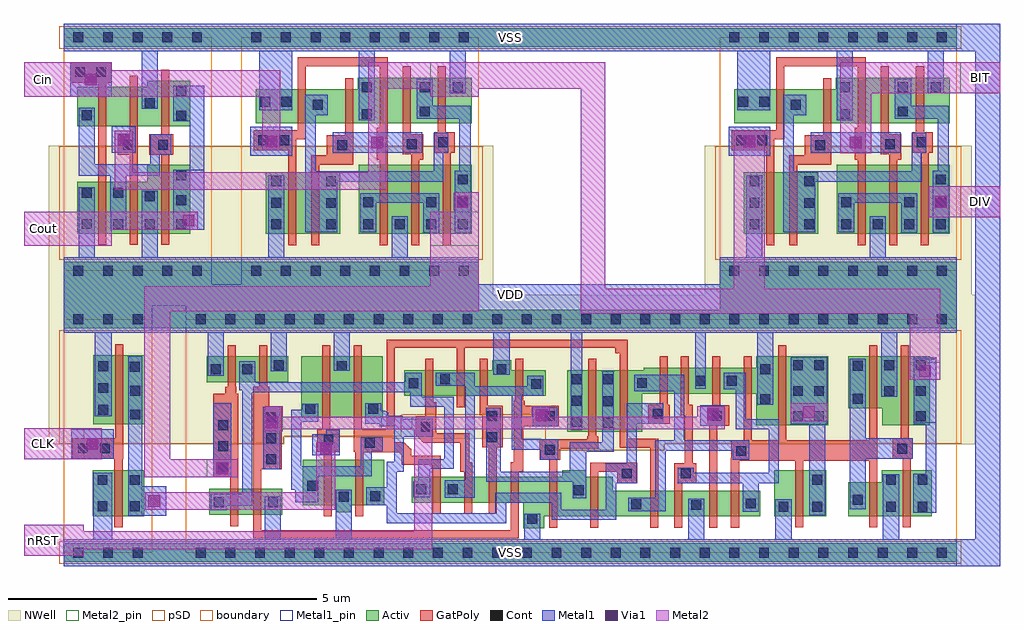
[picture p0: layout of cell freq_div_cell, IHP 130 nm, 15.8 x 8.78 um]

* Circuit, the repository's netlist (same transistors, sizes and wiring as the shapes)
** sch_path: /foss/designs/PROJECTS/cmos-pll-ihp-sg13g2/Combined Design/design_data/xschem/freq_div_cell.sch
.SUBCKT freq_div_cell VDD VSS DIV Cin CLK Cout nRST BIT
*.PININFO Cin:I CLK:I nRST:I BIT:I DIV:O Cout:O VSS:B VDD:B
x2 CLK net2 net1 net3 nRST VDD VSS dff_nclk
x3 net2 BIT VDD VSS DIV sg13g2_xor2_1
* noconn #net3
x1 net2 net1 Cin VDD VSS Cout half_add
.ENDS

* expanding   symbol:  dff_nclk.sym # of pins=7
** sym_path: /foss/designs/PROJECTS/cmos-pll-ihp-sg13g2/Combined Design/design_data/xschem/dff_nclk.sym
** sch_path: /foss/designs/PROJECTS/cmos-pll-ihp-sg13g2/Combined Design/design_data/xschem/dff_nclk.sch
.SUBCKT dff_nclk nCLK Q D nQ nRST VDD VSS
*.PININFO nCLK:I D:I nRST:I Q:O nQ:O VSS:B VDD:B
x1 net1 D Q nQ nRST VDD VSS sg13g2_dfrbp_1
x2 nCLK VDD VSS net1 sg13g2_inv_1
.ENDS


* expanding   symbol:  half_add.sym # of pins=6
** sym_path: /foss/designs/PROJECTS/cmos-pll-ihp-sg13g2/Combined Design/design_data/xschem/half_add.sym
** sch_path: /foss/designs/PROJECTS/cmos-pll-ihp-sg13g2/Combined Design/design_data/xschem/half_add.sch
.SUBCKT half_add inB sum inA VDD VSS cout
*.PININFO inA:I inB:I sum:O cout:O VSS:B VDD:B
x1 inA inB VDD VSS sum sg13g2_xor2_1
x2 inA inB VDD VSS cout sg13g2_and2_1
.ENDS

.SUBCKT sg13g2_xor2_1 A B VDD VSS X
*.PININFO A:I B:I X:O VDD:B VSS:B
MX0 net1 A VSS VSS sg13_lv_nmos m=1 w=550.00n l=130.00n ng=1
MX4 X B net3 VSS sg13_lv_nmos m=1 w=740.00n l=130.00n ng=1
MX6 X net1 VSS VSS sg13_lv_nmos m=1 w=740.00n l=130.00n ng=1
MX8 net3 A VSS VSS sg13_lv_nmos m=1 w=740.00n l=130.00n ng=1
MX9 net1 B VSS VSS sg13_lv_nmos m=1 w=550.00n l=130.00n ng=1
MX1 net6 A VDD VDD sg13_lv_pmos m=1 w=1.000u l=130.00n ng=1
MX2 net1 B net6 VDD sg13_lv_pmos m=1 w=1.000u l=130.00n ng=1
MX3 net5 A VDD VDD sg13_lv_pmos m=1 w=1.12e-06 l=130.00n ng=1
MX5 net5 B VDD VDD sg13_lv_pmos m=1 w=1.12e-06 l=130.00n ng=1
MX7 X net1 net5 VDD sg13_lv_pmos m=1 w=1.12e-06 l=130.00n ng=1
.ENDS

.SUBCKT sg13g2_and2_1 A B VDD VSS X
*.PININFO A:I B:I X:O VDD:B VSS:B
MX0 net4 A net2 VSS sg13_lv_nmos m=1 w=640.00n l=130.00n ng=1
MX2 X net4 VSS VSS sg13_lv_nmos m=1 w=740.00n l=130.00n ng=1
MX3 net2 B VSS VSS sg13_lv_nmos m=1 w=640.00n l=130.00n ng=1
MX1 net4 B VDD VDD sg13_lv_pmos m=1 w=840.00n l=130.00n ng=1
MX4 VDD net4 X VDD sg13_lv_pmos m=1 w=1.12e-06 l=130.00n ng=1
MX5 net4 A VDD VDD sg13_lv_pmos m=1 w=840.00n l=130.00n ng=1
.ENDS

.SUBCKT sg13g2_dfrbp_1 CLK D Q Q_N RESET_B VDD VSS
*.PININFO CLK:I D:I RESET_B:I Q:O Q_N:O VDD:B VSS:B
MN13 net12 net2 VSS VSS sg13_lv_nmos m=1 w=420.00n l=130.00n ng=1
MN14 net5 clkneg net12 VSS sg13_lv_nmos m=1 w=420.00n l=130.00n ng=1
MN15 net2 net5 net11 VSS sg13_lv_nmos m=1 w=420.00n l=130.00n ng=1
MN16 net11 RESET_B VSS VSS sg13_lv_nmos m=1 w=420.00n l=130.00n ng=1
MN6 Q_N net5 VSS VSS sg13_lv_nmos m=1 w=740.00n l=130.00n ng=1
MN0 Db D net10 VSS sg13_lv_nmos m=1 w=420.00n l=130.00n ng=1
MN1 net10 RESET_B VSS VSS sg13_lv_nmos m=1 w=420.00n l=130.00n ng=1
MN7 Db clkneg net6 VSS sg13_lv_nmos m=1 w=420.00n l=130.00n ng=1
MN8 net6 clkpos net9 VSS sg13_lv_nmos m=1 w=420.00n l=130.00n ng=1
MN9 net9 net4 net8 VSS sg13_lv_nmos m=1 w=420.00n l=130.00n ng=1
MN10 net8 RESET_B VSS VSS sg13_lv_nmos m=1 w=420.00n l=130.00n ng=1
MN11 net4 net6 VSS VSS sg13_lv_nmos m=1 w=640.00n l=130.00n ng=1
MN2 clkneg CLK VSS VSS sg13_lv_nmos m=1 w=740.00n l=130.00n ng=1
MN12 net4 clkpos net5 VSS sg13_lv_nmos m=1 w=640.00n l=130.00n ng=1
MN3 clkpos clkneg VSS VSS sg13_lv_nmos m=1 w=740.00n l=130.00n ng=1
MN4 Q net1 VSS VSS sg13_lv_nmos m=1 w=740.00n l=130.00n ng=1
MN5 net1 net5 VSS VSS sg13_lv_nmos m=1 w=550.00n l=130.00n ng=1
MP14 net5 clkpos net3 VDD sg13_lv_pmos m=1 w=420.00n l=130.00n ng=1
MP15 net2 net5 VDD VDD sg13_lv_pmos m=1 w=420.00n l=130.00n ng=1
MP16 net2 RESET_B VDD VDD sg13_lv_pmos m=1 w=420.00n l=130.00n ng=1
MP6 Q_N net5 VDD VDD sg13_lv_pmos m=1 w=1.12u l=130.00n ng=1
MP7 Db clkpos net6 VDD sg13_lv_pmos m=1 w=420.00n l=130.00n ng=1
MP0 Db RESET_B VDD VDD sg13_lv_pmos m=1 w=420.00n l=130.00n ng=1
MP1 Db D VDD VDD sg13_lv_pmos m=1 w=420.00n l=130.00n ng=1
MP8 net7 net4 VDD VDD sg13_lv_pmos m=1 w=420.00n l=130.00n ng=1
MP9 net6 clkneg net7 VDD sg13_lv_pmos m=1 w=420.00n l=130.00n ng=1
MP10 net6 RESET_B VDD VDD sg13_lv_pmos m=1 w=420.00n l=130.00n ng=1
MP2 clkneg CLK VDD VDD sg13_lv_pmos m=1 w=1.000u l=130.00n ng=1
MP3 clkpos clkneg VDD VDD sg13_lv_pmos m=1 w=1.000u l=130.00n ng=1
MP11 net4 net6 VDD VDD sg13_lv_pmos m=1 w=1.000u l=130.00n ng=1
MP12 net4 clkneg net5 VDD sg13_lv_pmos m=1 w=1.000u l=130.00n ng=1
MP4 Q net1 VDD VDD sg13_lv_pmos m=1 w=1.12u l=130.00n ng=1
MP13 net3 net2 VDD VDD sg13_lv_pmos m=1 w=420.00n l=130.00n ng=1
MP5 net1 net5 VDD VDD sg13_lv_pmos m=1 w=840.00n l=130.00n ng=1
.ENDS

.SUBCKT sg13g2_inv_1 A VDD VSS Y
*.PININFO A:I Y:O VDD:B VSS:B
MX1 Y A VSS VSS sg13_lv_nmos m=1 w=740.00n l=130.00n ng=1
MX0 Y A VDD VDD sg13_lv_pmos m=1 w=1.12u l=130.00n ng=1
.ENDS

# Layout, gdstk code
import gdstk
lib = gdstk.Library(unit=1e-6, precision=1e-09)
def R(c, l, rs):  # rectangles x0, y0, x1, y1
    for r in rs: c.add(gdstk.rectangle(r[:2], r[2:], *l))
def A(c, l, x, y, w, h, nx, ny, dx, dy):  # array of equal rectangles
    R(c, l, [(x+i*dx, y+j*dy, x+i*dx+w, y+j*dy+h) for i in range(nx) for j in range(ny)])
def P(c, l, *ps):  # polygons
    for p in ps: c.add(gdstk.Polygon(p, *l))
Activ = (1, 0)
GatPoly = (5, 0)
Cont = (6, 0)
Metal1 = (8, 0)
Metal1_pin = (8, 2)
Metal2 = (10, 0)
Metal2_pin = (10, 2)
pSD = (14, 0)
Via1 = (19, 0)
NWell = (31, 0)
boundary = (189, 4)

sg13g2_xor2_1 = lib.new_cell('sg13g2_xor2_1')
R(sg13g2_xor2_1, Activ, [(0,-0.15,3.84,0.15), (1.9,2.06,3.73,3.18), (0.395,2.18,1.6,3.18), (0,3.63,3.84,3.93)])
P(sg13g2_xor2_1, Activ, [(1.88,0.65),(1.88,0.84),(0.235,0.84),(0.235,1.39),(3.73,1.39),(3.73,0.65)])
R(sg13g2_xor2_1, GatPoly, [(3.12,1.535,3.345,1.865)])
P(sg13g2_xor2_1, GatPoly, [(2.61,0.47),(2.61,1.895),(2.75,1.895),(2.75,3.365),(2.88,3.365),(2.88,1.98),(2.94,1.98),(2.94,1.565),(2.74,1.565),(2.74,0.47)],
  [(3.18,0.47),(3.18,1.865),(3.26,1.865),(3.26,3.365),(3.39,3.365),(3.39,1.865),(3.45,1.865),(3.45,1.535),(3.31,1.535),(3.31,0.47)],
  [(1.68,0.66),(1.68,1.58),(1.38,1.58),(1.38,1.91),(1.13,1.91),(1.13,3.365),(1.26,3.365),(1.26,2.06),(1.81,2.06),(1.81,0.66)],
  [(0.915,0.32),(0.915,1.5),(0.2,1.5),(0.2,1.83),(0.755,1.83),(0.755,3.365),(0.885,3.365),(0.885,1.65),(1.045,1.65),(1.045,0.47),(2.24,0.47),(2.24,1.465),(2.19,1.465),(2.19,1.98),(2.24,1.98),(2.24,3.365),(2.37,3.365),(2.37,0.32)])
A(sg13g2_xor2_1, Cont, 0.16, -0.08, 0.16, 0.16, 8, 2, 0.48, 3.78)
A(sg13g2_xor2_1, Cont, 1.97, 2.945, 0.16, 0.16, 4, 1, 0.51, 0)
R(sg13g2_xor2_1, Cont, [(1.95,0.725,2.11,0.885), (2.885,0.725,3.045,0.885), (3.42,0.725,3.58,0.885), (0.305,0.96,0.465,1.12), (0.645,0.96,0.805,1.12), (1.155,1.01,1.315,1.17), (2.885,1.12,3.045,1.28), (1.95,1.16,2.11,1.32), (0.27,1.585,0.43,1.745), (0.61,1.585,0.77,1.745), (3.19,1.62,3.35,1.78), (2.68,1.65,2.84,1.81), (1.55,1.665,1.71,1.825), (3.5,2.22,3.66,2.38), (0.485,2.25,0.645,2.41), (1.37,2.25,1.53,2.41), (1.97,2.59,2.13,2.75), (2.99,2.59,3.15,2.75), (0.485,2.595,0.645,2.755), (3.5,2.595,3.66,2.755), (1.37,2.6,1.53,2.76), (0.485,2.945,0.645,3.105), (1.37,2.945,1.53,3.105)])
R(sg13g2_xor2_1, Metal1, [(0.145,1.45,0.82,1.915), (1.475,1.535,2.93,1.87)])
P(sg13g2_xor2_1, Metal1, [(1.92,2.52),(1.92,3.155),(2.18,3.155),(2.18,2.68),(2.94,2.68),(2.94,3.16),(3.2,3.16),(3.2,2.52)],
  [(0.435,2.23),(0.435,3.56),(0,3.56),(0,4),(3.84,4),(3.84,3.56),(2.69,3.56),(2.69,2.895),(2.43,2.895),(2.43,3.56),(0.695,3.56),(0.695,2.23)],
  [(1.03,0.93),(1.03,3.155),(1.55,3.155),(1.55,2.34),(3.27,2.34),(3.27,1.87),(3.35,1.87),(3.35,1.54),(3.11,1.54),(3.11,2.17),(1.2,2.17),(1.2,1.26),(1.4,1.26),(1.4,0.93)],
  [(0,-0.22),(0,0.22),(0.285,0.22),(0.285,1.18),(0.82,1.18),(0.82,0.22),(1.9,0.22),(1.9,1.34),(2.16,1.34),(2.16,0.22),(3.37,0.22),(3.37,0.905),(3.63,0.905),(3.63,0.22),(3.84,0.22),(3.84,-0.22)],
  [(2.835,0.67),(2.835,1.315),(3.53,1.315),(3.53,2.155),(3.45,2.155),(3.45,3.16),(3.71,3.16),(3.71,1.105),(3.1,1.105),(3.1,0.67)])
R(sg13g2_xor2_1, Metal1_pin, [(0,-0.22,3.84,0.22), (0.145,1.45,0.82,1.915), (1.475,1.535,2.93,1.87), (3.45,2.155,3.71,3.16), (0,3.56,3.84,4)])
R(sg13g2_xor2_1, pSD, [(-0.07,-0.18,3.91,0.18), (-0.07,1.76,3.91,3.6)])
R(sg13g2_xor2_1, NWell, [(-0.24,1.75,4.08,4.17)])
R(sg13g2_xor2_1, boundary, [(0,0,3.84,3.78)])
sg13g2_xor2_1.add(gdstk.Label('X', (3.505,2.635), layer=8, texttype=25))
sg13g2_xor2_1.add(gdstk.Label('VDD', (2.3,3.775), layer=8, texttype=25))
sg13g2_xor2_1.add(gdstk.Label('B', (2.255,1.725), layer=8, texttype=25))
sg13g2_xor2_1.add(gdstk.Label('A', (0.52,1.63), layer=8, texttype=25))
sg13g2_xor2_1.add(gdstk.Label('VSS', (2.09,0.02), layer=8, texttype=25))

sg13g2_and2_1 = lib.new_cell('sg13g2_and2_1')
R(sg13g2_and2_1, Activ, [(0,-0.15,2.4,0.15), (0,3.63,2.4,3.93)])
P(sg13g2_and2_1, Activ, [(1.355,0.7),(1.355,0.8),(0.225,0.8),(0.225,1.44),(2.055,1.44),(2.055,0.7)],
  [(1.355,2.06),(1.355,2.34),(0.225,2.34),(0.225,3.18),(2.055,3.18),(2.055,2.06)])
P(sg13g2_and2_1, GatPoly, [(1.585,0.52),(1.585,1.57),(1.385,1.57),(1.385,1.9),(1.585,1.9),(1.585,3.36),(1.715,3.36),(1.715,1.9),(1.775,1.9),(1.775,1.57),(1.715,1.57),(1.715,0.52)],
  [(0.105,0.41),(0.105,0.73),(0.565,0.73),(0.565,3.36),(0.695,3.36),(0.695,0.73),(0.775,0.73),(0.775,0.41)],
  [(1.075,0.62),(1.075,1.57),(0.875,1.57),(0.875,1.9),(1.075,1.9),(1.075,3.36),(1.205,3.36),(1.205,0.62)])
A(sg13g2_and2_1, Cont, 0.16, -0.08, 0.16, 0.16, 5, 1, 0.48, 0)
A(sg13g2_and2_1, Cont, 0.295, 2.94, 0.16, 0.16, 4, 1, 0.51, 0)
R(sg13g2_and2_1, Cont, [(0.19,0.48,0.35,0.64), (0.53,0.48,0.69,0.64), (1.825,0.795,1.985,0.955), (1.315,0.985,1.475,1.145), (0.295,1.18,0.455,1.34), (1.825,1.185,1.985,1.345), (0.96,1.655,1.12,1.815), (1.53,1.655,1.69,1.815), (1.825,2.155,1.985,2.315), (0.295,2.435,0.455,2.595), (0.805,2.435,0.965,2.595), (1.315,2.495,1.475,2.655), (1.825,2.555,1.985,2.715), (0.16,3.7,0.32,3.86), (0.16,3.7,0.32,3.86), (0.16,3.7,0.32,3.86), (0.64,3.7,0.8,3.86), (0.64,3.7,0.8,3.86), (1.12,3.7,1.28,3.86), (1.12,3.7,1.28,3.86), (1.6,3.7,1.76,3.86), (1.6,3.7,1.76,3.86), (2.08,3.7,2.24,3.86), (2.08,3.7,2.24,3.86)])
R(sg13g2_and2_1, Metal1, [(0.105,0.405,0.78,0.96), (0.78,1.435,1.17,1.87)])
P(sg13g2_and2_1, Metal1, [(0.245,1.14),(0.245,2.24),(0.755,2.24),(0.755,3.11),(1.015,3.11),(1.015,2.24),(1.56,2.24),(1.56,1.9),(1.74,1.9),(1.74,1.57),(1.4,1.57),(1.4,2.05),(0.505,2.05),(0.505,1.14)],
  [(1.775,0.78),(1.775,1.36),(2.04,1.36),(2.04,2.14),(1.775,2.14),(1.775,3.11),(2.275,3.11),(2.275,0.78)],
  [(0.245,2.425),(0.245,3.56),(0,3.56),(0,4),(2.4,4),(2.4,3.56),(1.525,3.56),(1.525,2.485),(1.265,2.485),(1.265,3.56),(0.505,3.56),(0.505,2.425)],
  [(0,-0.22),(0,0.22),(1.265,0.22),(1.265,1.155),(1.525,1.155),(1.525,0.22),(2.4,0.22),(2.4,-0.22)])
R(sg13g2_and2_1, Metal1_pin, [(0,-0.22,2.4,0.22), (0.105,0.405,0.78,0.96), (0.78,1.435,1.17,1.87), (1.775,2.14,2.275,3.11), (0,3.56,2.4,4)])
R(sg13g2_and2_1, pSD, [(-0.07,-0.18,2.47,0.18), (-0.07,1.76,0.55,3.6), (-0.07,1.76,2.47,3.6)])
R(sg13g2_and2_1, NWell, [(-0.24,1.75,2.64,4.17)])
R(sg13g2_and2_1, boundary, [(0,0,2.4,3.78)])
sg13g2_and2_1.add(gdstk.Label('X', (1.995,2.68), layer=8, texttype=25))
sg13g2_and2_1.add(gdstk.Label('VSS', (1.18,0), layer=8, texttype=25))
sg13g2_and2_1.add(gdstk.Label('VDD', (1.275,3.78), layer=8, texttype=25))
sg13g2_and2_1.add(gdstk.Label('B', (0.98,1.655), layer=8, texttype=25))
sg13g2_and2_1.add(gdstk.Label('A', (0.465,0.745), layer=8, texttype=25))

half_add = lib.new_cell('half_add')
R(half_add, Activ, [(-1.24,-1.02,-0.76,-0.72), (-1.24,2.76,-0.76,3.06)])
R(half_add, Metal1, [(-1.24,-1.09,-0.76,-0.65), (-1.24,2.69,-0.76,3.13)])
P(half_add, Metal2, [(-3.64,1.95),(-3.64,2.505),(-2.86,2.505),(-2.86,2.24),(-1.47,2.24),(-1.47,1.95)],
  [(1.295,-0.465),(1.295,1.31),(-2.52,1.31),(-2.52,0.64),(-2.81,0.64),(-2.81,1.6),(1.585,1.6),(1.585,-0.04),(2.3,-0.04),(2.3,0.09),(3.08,0.09),(3.08,-0.465)],
  [(-3.64,-0.465),(-3.64,0.09),(-0.42,0.09),(-0.42,0.96),(-0.13,0.96),(-0.13,-0.34),(-2.86,-0.34),(-2.86,-0.465)],
  [(2.675,1.64),(2.675,1.95),(2.3,1.95),(2.3,2.505),(3.08,2.505),(3.08,1.64)])
R(half_add, Metal2_pin, [(-3.64,-0.465,-2.86,0.09), (2.3,-0.465,3.08,0.09), (-3.64,1.95,-2.86,2.505), (2.3,1.95,3.08,2.505)])
R(half_add, pSD, [(-1.17,-1.05,-0.83,-0.69), (-1.17,0.89,-0.83,2.73)])
R(half_add, Via1, [(-3.295,-0.285,-3.105,-0.095), (-2.76,0.69,-2.57,0.88), (-0.37,0.72,-0.18,0.91), (1.345,0.735,1.535,0.925), (2.725,1.695,2.915,1.885), (-1.71,2,-1.52,2.19)])
half_add.add(gdstk.Reference(sg13g2_xor2_1, (-0.76,-0.87)))
half_add.add(gdstk.Reference(sg13g2_and2_1, (-3.64,-0.87)))
half_add.add(gdstk.Label('inA', (-3.25,-0.187), layer=10, texttype=25))
half_add.add(gdstk.Label('inB', (2.69,-0.187), layer=10, texttype=25))
half_add.add(gdstk.Label('sum', (2.69,2.228), layer=10, texttype=25))
half_add.add(gdstk.Label('cout', (-3.25,2.228), layer=10, texttype=25))

sg13g2_inv_1 = lib.new_cell('sg13g2_inv_1')
R(sg13g2_inv_1, Activ, [(0,-0.15,1.44,0.15), (0.475,0.59,1.305,1.33), (0.485,2.075,1.315,3.195), (0,3.63,1.44,3.93)])
P(sg13g2_inv_1, GatPoly, [(0.825,0.41),(0.825,1.52),(0.145,1.52),(0.145,1.85),(0.835,1.85),(0.835,3.375),(0.965,3.375),(0.965,1.52),(0.955,1.52),(0.955,0.41)])
A(sg13g2_inv_1, Cont, 0.56, 2.235, 0.16, 0.16, 1, 3, 0, 0.35)
R(sg13g2_inv_1, Cont, [(0.16,-0.08,0.32,0.08), (0.16,-0.08,0.32,0.08), (0.64,-0.08,0.8,0.08), (0.64,-0.08,0.8,0.08), (1.12,-0.08,1.28,0.08), (1.12,-0.08,1.28,0.08), (0.55,0.67,0.71,0.83), (1.07,0.67,1.23,0.83), (0.55,1.095,0.71,1.255), (1.07,1.095,1.23,1.255), (0.23,1.605,0.39,1.765), (0.585,1.605,0.745,1.765), (1.08,2.155,1.24,2.315), (1.08,2.54,1.24,2.7), (1.075,2.93,1.235,3.09), (0.16,3.7,0.32,3.86), (0.16,3.7,0.32,3.86), (0.64,3.7,0.8,3.86), (0.64,3.7,0.8,3.86), (1.12,3.7,1.28,3.86), (1.12,3.7,1.28,3.86)])
R(sg13g2_inv_1, Metal1, [(1.045,0.595,1.275,3.175), (0.125,1.52,0.815,2)])
P(sg13g2_inv_1, Metal1, [(0,-0.22),(0,0.22),(0.485,0.22),(0.485,1.295),(0.785,1.295),(0.785,0.22),(1.44,0.22),(1.44,-0.22)],
  [(0.505,2.205),(0.505,3.56),(0,3.56),(0,4),(1.44,4),(1.44,3.56),(0.78,3.56),(0.78,2.205)])
R(sg13g2_inv_1, Metal1_pin, [(0,-0.22,1.44,0.22), (1.045,0.595,1.275,3.175), (0.125,1.52,0.815,2), (0,3.56,1.44,4)])
R(sg13g2_inv_1, pSD, [(-0.07,-0.18,1.51,0.18), (-0.07,1.76,1.51,3.6)])
R(sg13g2_inv_1, NWell, [(-0.24,1.75,1.68,4.17)])
R(sg13g2_inv_1, boundary, [(0,0,1.44,3.78)])
sg13g2_inv_1.add(gdstk.Label('Y', (1.17,1.69), layer=8, texttype=25))
sg13g2_inv_1.add(gdstk.Label('A', (0.485,1.76), layer=8, texttype=25))
sg13g2_inv_1.add(gdstk.Label('VSS', (0.72,-0.02), layer=8, texttype=25))
sg13g2_inv_1.add(gdstk.Label('VDD', (0.705,3.78), layer=8, texttype=25))

sg13g2_dfrbp_1 = lib.new_cell('sg13g2_dfrbp_1')
R(sg13g2_dfrbp_1, Activ, [(0,-0.15,12.48,0.15), (9.525,0.59,10.37,1.33), (0.38,0.61,1.56,1.03), (1.865,2.18,3.185,3.18), (0.335,2.76,1.655,3.18), (0,3.63,12.48,3.93)])
P(sg13g2_dfrbp_1, Activ, [(10.725,0.59),(10.725,1.14),(11.265,1.14),(11.265,1.33),(12.075,1.33),(12.075,0.59)],
  [(11.275,2.06),(11.275,2.34),(10.725,2.34),(10.725,3.18),(12.045,3.18),(12.045,2.06)],
  [(6.175,1.955),(6.175,2.955),(7.41,2.955),(7.41,2.995),(9.23,2.995),(9.23,3.18),(10.4,3.18),(10.4,2.06),(9.23,2.06),(9.23,2.575),(7.39,2.575),(7.39,1.955)],
  [(5.46,0.395),(5.46,0.81),(3.66,0.81),(3.66,1.23),(5.71,1.23),(5.71,1.225),(6.095,1.225),(6.095,1.335),(6.48,1.335),(6.48,1.225),(6.91,1.225),(6.91,1.005),(9.295,1.005),(9.295,0.585),(5.805,0.585),(5.805,0.395)],
  [(3.535,2.535),(3.535,2.955),(4.96,2.955),(4.96,3.115),(5.265,3.115),(5.265,2.955),(5.83,2.955),(5.83,2.535)],
  [(2.435,0.65),(2.435,0.765),(1.895,0.765),(1.895,1.505),(3.215,1.505),(3.215,0.765),(2.675,0.765),(2.675,0.65)])
P(sg13g2_dfrbp_1, GatPoly, [(11.605,0.41),(11.605,1.52),(11.44,1.52),(11.44,1.85),(11.575,1.85),(11.575,3.36),(11.705,3.36),(11.705,1.85),(11.77,1.85),(11.77,1.52),(11.735,1.52),(11.735,0.41)],
  [(8.825,0.405),(8.825,1.53),(8.83,1.53),(8.83,1.815),(9.03,1.815),(9.03,3.175),(9.16,3.175),(9.16,1.815),(9.59,1.815),(9.59,3.36),(9.72,3.36),(9.72,1.815),(11.065,1.815),(11.065,3.36),(11.195,3.36),(11.195,0.41),(11.065,0.41),(11.065,1.485),(9.995,1.485),(9.995,0.41),(9.865,0.41),(9.865,1.485),(8.955,1.485),(8.955,0.405)],
  [(8.47,0.405),(8.47,2.055),(8.445,2.055),(8.445,2.385),(8.52,2.385),(8.52,3.175),(8.65,3.175),(8.65,2.385),(8.8,2.385),(8.8,2.055),(8.6,2.055),(8.6,0.405)],
  [(7.91,0.405),(7.91,1.45),(8.08,1.45),(8.08,2.22),(8.01,2.22),(8.01,3.175),(8.14,3.175),(8.14,2.39),(8.21,2.39),(8.21,1.45),(8.26,1.45),(8.26,1.12),(8.04,1.12),(8.04,0.405)],
  [(7.485,2.085),(7.485,2.395),(7.675,2.395),(7.675,3.175),(7.805,3.175),(7.805,2.395),(7.83,2.395),(7.83,2.085)],
  [(7.52,0.405),(7.52,1.695),(7.025,1.695),(7.025,3.225),(6.95,3.225),(6.95,3.315),(4.515,3.315),(4.515,2.355),(4.385,2.355),(4.385,3.315),(3.385,3.315),(3.385,1.79),(3.53,1.79),(3.53,1.78),(3.54,1.78),(3.54,1.77),(3.55,1.77),(3.55,1.76),(3.56,1.76),(3.56,1.75),(3.57,1.75),(3.57,1.74),(3.58,1.74),(3.58,1.73),(3.59,1.73),(3.59,1.72),(3.6,1.72),(3.6,1.71),(3.61,1.71),(3.61,1.7),(3.62,1.7),(3.62,1.69),(3.63,1.69),(3.63,1.68),(3.645,1.68),(3.645,1.57),(4.13,1.57),(4.13,0.63),(4,0.63),(4,1.42),(3.495,1.42),(3.495,1.6),(3.485,1.6),(3.485,1.61),(3.475,1.61),(3.475,1.62),(3.46,1.62),(3.46,1.625),(2.875,1.625),(2.875,0.585),(2.745,0.585),(2.745,1.63),(2.715,1.63),(2.715,3.36),(2.845,3.36),(2.845,1.995),(3.255,1.995),(3.255,3.445),(7.155,3.445),(7.155,1.845),(7.65,1.845),(7.65,0.405)],
  [(6.55,0.405),(6.55,1.455),(7.31,1.455),(7.31,1.12),(6.98,1.12),(6.98,1.305),(6.68,1.305),(6.68,0.405)],
  [(5.88,0.405),(5.88,1.505),(5.73,1.505),(5.73,1.835),(6.5,1.835),(6.5,1.88),(6.515,1.88),(6.515,3.135),(6.645,3.135),(6.645,1.88),(6.68,1.88),(6.68,1.685),(6.06,1.685),(6.06,1.505),(6.01,1.505),(6.01,0.405)],
  [(1.09,0.235),(1.09,2.685),(1.185,2.685),(1.185,3.36),(1.315,3.36),(1.315,2.685),(1.35,2.685),(1.35,2.36),(1.555,2.36),(1.555,1.35),(1.22,1.35),(1.22,0.365),(5.26,0.365),(5.26,1.46),(5.31,1.46),(5.31,2.46),(5.335,2.46),(5.335,3.135),(5.465,3.135),(5.465,2.46),(5.49,2.46),(5.49,2.375),(6.04,2.375),(6.04,2.045),(5.46,2.045),(5.46,1.31),(5.39,1.31),(5.39,0.235)],
  [(4.9,0.63),(4.9,1.705),(4.8,1.705),(4.8,2.225),(4.76,2.225),(4.76,3.135),(4.89,3.135),(4.89,2.375),(5.13,2.375),(5.13,1.705),(5.03,1.705),(5.03,0.63)],
  [(4.51,0.63),(4.51,1.31),(4.44,1.31),(4.44,1.78),(3.84,1.78),(3.84,1.795),(3.83,1.795),(3.83,1.805),(3.82,1.805),(3.82,1.815),(3.81,1.815),(3.81,1.825),(3.8,1.825),(3.8,1.835),(3.79,1.835),(3.79,1.845),(3.78,1.845),(3.78,1.855),(3.77,1.855),(3.77,1.865),(3.76,1.865),(3.76,1.875),(3.75,1.875),(3.75,1.885),(3.74,1.885),(3.74,1.895),(3.73,1.895),(3.73,1.905),(3.72,1.905),(3.72,2.205),(3.875,2.205),(3.875,3.135),(4.005,3.135),(4.005,2.43),(4.05,2.43),(4.05,1.93),(4.59,1.93),(4.59,1.46),(4.64,1.46),(4.64,0.63)],
  [(2.235,0.585),(2.235,1.63),(2.125,1.63),(2.125,1.995),(2.205,1.995),(2.205,3.36),(2.335,3.36),(2.335,1.995),(2.48,1.995),(2.48,1.63),(2.365,1.63),(2.365,0.585)],
  [(0.72,0.43),(0.72,1.22),(0.445,1.22),(0.445,2.57),(0.64,2.57),(0.64,2.685),(0.675,2.685),(0.675,3.36),(0.805,3.36),(0.805,2.685),(0.82,2.685),(0.82,2.57),(0.85,2.57),(0.85,0.43)])
A(sg13g2_dfrbp_1, Cont, 0.16, -0.08, 0.16, 0.16, 26, 2, 0.48, 3.78)
A(sg13g2_dfrbp_1, Cont, 0.525, 1.3, 0.16, 0.16, 1, 3, 0, 0.34)
A(sg13g2_dfrbp_1, Cont, 1.305, 1.43, 0.16, 0.16, 1, 3, 0, 0.34)
R(sg13g2_dfrbp_1, Cont, [(5.53,0.47,5.69,0.63), (9.595,0.66,9.755,0.82), (10.14,0.66,10.3,0.82), (11.845,0.66,12.005,0.82), (11.335,0.665,11.495,0.825), (8.18,0.69,8.34,0.85), (7.21,0.7,7.37,0.86), (9.065,0.715,9.225,0.875), (0.45,0.735,0.61,0.895), (1.33,0.735,1.49,0.895), (10.795,0.775,10.955,0.935), (2.475,0.825,2.635,0.985), (2.985,0.835,3.145,0.995), (6.28,0.93,6.44,1.09), (3.73,0.945,3.89,1.105), (4.24,0.945,4.4,1.105), (1.965,1,2.125,1.16), (10.14,1.1,10.3,1.26), (11.335,1.1,11.495,1.26), (11.845,1.1,12.005,1.26), (7.06,1.2,7.22,1.36), (8.01,1.2,8.17,1.36), (8.91,1.565,9.07,1.725), (5.81,1.585,5.97,1.745), (11.52,1.6,11.68,1.76), (2.895,1.695,3.055,1.855), (2.23,1.745,2.39,1.905), (4.88,1.785,5.04,1.945), (3.8,1.955,3.96,2.115), (6.755,2.025,6.915,2.185), (6.245,2.04,6.405,2.2), (4.88,2.125,5.04,2.285), (5.81,2.125,5.97,2.285), (9.83,2.13,9.99,2.29), (10.17,2.13,10.33,2.29), (11.815,2.13,11.975,2.29), (8.515,2.135,8.675,2.295), (7.555,2.165,7.715,2.325), (1.935,2.25,2.095,2.41), (2.955,2.25,3.115,2.41), (6.755,2.37,6.915,2.53), (6.245,2.38,6.405,2.54), (9.3,2.405,9.46,2.565), (10.795,2.41,10.955,2.57), (9.83,2.535,9.99,2.695), (10.17,2.535,10.33,2.695), (11.305,2.535,11.465,2.695), (11.815,2.535,11.975,2.695), (5.595,2.65,5.755,2.81), (3.605,2.66,3.765,2.82), (7.305,2.665,7.465,2.825), (8.25,2.7,8.41,2.86), (8.76,2.7,8.92,2.86), (4.115,2.725,4.275,2.885), (6.245,2.725,6.405,2.885), (6.755,2.725,6.915,2.885), (0.405,2.885,0.565,3.045), (0.915,2.885,1.075,3.045), (5.03,2.885,5.19,3.045), (9.3,2.885,9.46,3.045), (2.445,2.94,2.605,3.1), (10.795,2.945,10.955,3.105), (1.425,2.95,1.585,3.11), (9.83,2.95,9.99,3.11), (10.17,2.95,10.33,3.11), (11.305,2.95,11.465,3.11), (11.815,2.95,11.975,3.11)])
R(sg13g2_dfrbp_1, Metal1, [(0.44,1.22,0.735,2.415), (1.255,1.35,1.525,2.36), (5.615,2.045,6.015,2.355), (8.325,2.055,8.725,2.385)])
P(sg13g2_dfrbp_1, Metal1, [(2.045,1.575),(2.045,1.915),(2.27,1.915),(2.27,1.985),(2.49,1.985),(2.49,1.575)],
  [(0,-0.22),(0,0.22),(1.28,0.22),(1.28,0.91),(1.54,0.91),(1.54,0.22),(2.425,0.22),(2.425,1.02),(2.685,1.02),(2.685,0.22),(5.48,0.22),(5.48,0.63),(5.74,0.63),(5.74,0.22),(8.13,0.22),(8.13,0.875),(8.39,0.875),(8.39,0.22),(9.545,0.22),(9.545,0.86),(9.805,0.86),(9.805,0.22),(11.285,0.22),(11.285,1.27),(11.545,1.27),(11.545,0.22),(12.48,0.22),(12.48,-0.22)],
  [(6.235,1.99),(6.235,3.56),(5.24,3.56),(5.24,2.875),(4.98,2.875),(4.98,3.56),(2.655,3.56),(2.655,2.94),(2.395,2.94),(2.395,3.56),(1.635,3.56),(1.635,2.935),(1.375,2.935),(1.375,3.56),(0.615,3.56),(0.615,2.86),(0.355,2.86),(0.355,3.56),(0,3.56),(0,4),(12.48,4),(12.48,3.56),(11.515,3.56),(11.515,2.52),(11.255,2.52),(11.255,3.56),(9.51,3.56),(9.51,2.395),(9.25,2.395),(9.25,3.56),(8.415,3.56),(8.415,2.65),(8.245,2.65),(8.245,3.56),(6.415,3.56),(6.415,1.99)],
  [(11.775,0.645),(11.775,1.28),(11.975,1.28),(11.975,2.08),(11.785,2.08),(11.785,3.16),(12.145,3.16),(12.145,0.645)],
  [(10.745,0.705),(10.745,3.135),(11.005,3.135),(11.005,1.85),(11.77,1.85),(11.77,1.52),(11.01,1.52),(11.01,0.705)],
  [(10.09,0.605),(10.09,2.08),(9.79,2.08),(9.79,3.165),(10.38,3.165),(10.38,2.08),(10.35,2.08),(10.35,0.605)],
  [(9.015,0.665),(9.015,1.12),(7.96,1.12),(7.96,1.375),(8.22,1.375),(8.22,1.29),(9.435,1.29),(9.435,1.995),(8.905,1.995),(8.905,2.645),(8.71,2.645),(8.71,2.91),(9.065,2.91),(9.065,2.155),(9.6,2.155),(9.6,1.12),(9.275,1.12),(9.275,0.665)],
  [(7.16,0.67),(7.16,0.885),(7.6,0.885),(7.6,1.815),(7.905,1.815),(7.905,2.615),(7.255,2.615),(7.255,2.875),(8.065,2.875),(8.065,1.815),(9.12,1.815),(9.12,1.5),(8.85,1.5),(8.85,1.645),(7.77,1.645),(7.77,0.67)],
  [(3.25,0.475),(3.25,0.765),(2.92,0.765),(2.92,1.055),(3.25,1.055),(3.25,1.47),(3.37,1.47),(3.37,2.045),(3.14,2.045),(3.14,2.085),(2.905,2.085),(2.905,2.415),(3.165,2.415),(3.165,2.3),(3.225,2.3),(3.225,2.285),(3.245,2.285),(3.245,2.28),(3.25,2.28),(3.25,2.26),(3.275,2.26),(3.275,2.215),(3.515,2.215),(3.515,2.17),(4,2.17),(4,1.875),(3.53,1.875),(3.53,1.31),(3.415,1.31),(3.415,0.635),(5.005,0.635),(5.005,0.97),(6.08,0.97),(6.08,0.695),(6.795,0.695),(6.795,1.45),(7.14,1.45),(7.14,2.415),(7.725,2.415),(7.725,2.085),(7.3,2.085),(7.3,1.12),(6.965,1.12),(6.965,0.53),(5.92,0.53),(5.92,0.81),(5.19,0.81),(5.19,0.475)],
  [(6.265,0.88),(6.265,1.15),(4.86,1.15),(4.86,2.345),(5.095,2.345),(5.095,1.31),(6.215,1.31),(6.215,1.79),(6.745,1.79),(6.745,2.935),(6.925,2.935),(6.925,1.63),(6.48,1.63),(6.48,0.88)],
  [(4.195,0.89),(4.195,1.175),(4.52,1.175),(4.52,2.7),(4.045,2.7),(4.045,2.915),(4.68,2.915),(4.68,2.695),(5.525,2.695),(5.525,2.86),(5.785,2.86),(5.785,2.535),(5.435,2.535),(5.435,1.835),(6.03,1.835),(6.03,1.505),(5.74,1.505),(5.74,1.665),(5.275,1.665),(5.275,2.535),(4.68,2.535),(4.68,0.89)],
  [(0.4,0.685),(0.4,0.95),(0.915,0.95),(0.915,2.625),(0.865,2.625),(0.865,3.095),(1.125,3.095),(1.125,2.755),(3.555,2.755),(3.555,2.91),(3.82,2.91),(3.82,2.52),(4.34,2.52),(4.34,1.355),(3.96,1.355),(3.96,0.895),(3.68,0.895),(3.68,1.155),(3.765,1.155),(3.765,1.515),(4.18,1.515),(4.18,2.36),(3.63,2.36),(3.63,2.595),(1.075,2.595),(1.075,0.76),(0.66,0.76),(0.66,0.685)],
  [(1.775,0.815),(1.775,1.02),(1.705,1.02),(1.705,2.315),(1.885,2.315),(1.885,2.41),(2.145,2.41),(2.145,2.12),(1.865,2.12),(1.865,1.395),(2.835,1.395),(2.835,1.865),(3.19,1.865),(3.19,1.645),(3.01,1.645),(3.01,1.235),(2.145,1.235),(2.145,0.815)])
R(sg13g2_dfrbp_1, Metal1_pin, [(0,-0.22,12.48,0.22), (0.44,1.22,0.735,2.415), (2.045,1.575,2.49,1.915), (9.79,2.08,10.38,3.165), (11.785,2.105,12.145,3.135), (0,3.56,12.48,4)])
P(sg13g2_dfrbp_1, Metal2, [(1.28,1.965),(1.28,2.37),(1.57,2.37),(1.57,2.2),(5.6,2.2),(5.6,2.37),(5.89,2.37),(5.89,2.2),(8.275,2.2),(8.275,2.37),(8.725,2.37),(8.725,2),(1.57,2),(1.57,1.965)])
R(sg13g2_dfrbp_1, Metal2_pin, [(1.28,1.965,1.57,2.37)])
R(sg13g2_dfrbp_1, pSD, [(-0.07,-0.18,12.55,0.18)])
P(sg13g2_dfrbp_1, pSD, [(5.815,1.655),(5.815,2.235),(3.485,2.235),(3.485,1.88),(1.585,1.88),(1.585,1.76),(-0.07,1.76),(-0.07,3.6),(12.55,3.6),(12.55,1.76),(7.745,1.76),(7.745,1.655)])
R(sg13g2_dfrbp_1, Via1, [(1.305,2.015,1.495,2.205), (5.665,2.13,5.855,2.32), (8.44,2.145,8.63,2.335)])
P(sg13g2_dfrbp_1, NWell, [(5.765,1.645),(5.765,1.84),(3.345,1.84),(3.345,1.87),(1.595,1.87),(1.595,1.75),(-0.3,1.75),(-0.3,4.17),(12.78,4.17),(12.78,1.75),(7.755,1.75),(7.755,1.645)])
R(sg13g2_dfrbp_1, boundary, [(0,0,12.48,3.78)])
sg13g2_dfrbp_1.add(gdstk.Label('D', (0.605,1.8), layer=8, texttype=25))
sg13g2_dfrbp_1.add(gdstk.Label('Q_N', (10.08,2.635), layer=8, texttype=25))
sg13g2_dfrbp_1.add(gdstk.Label('CLK', (2.365,1.725), layer=8, texttype=25))
sg13g2_dfrbp_1.add(gdstk.Label('VSS', (5.98,0), layer=8, texttype=25))
sg13g2_dfrbp_1.add(gdstk.Label('VDD', (6.165,3.78), layer=8, texttype=25))
sg13g2_dfrbp_1.add(gdstk.Label('Q', (11.995,2.75), layer=8, texttype=25))
sg13g2_dfrbp_1.add(gdstk.Label('RESET_B', (1.44,2.1), layer=10, texttype=25))

dff_nclk = lib.new_cell('dff_nclk')
R(dff_nclk, Activ, [(-2.49,-0.57,-1.95,-0.27), (-2.49,3.21,-1.95,3.51)])
R(dff_nclk, Metal1, [(-2.49,-0.64,-1.95,-0.2), (-2.655,0.175,-2.265,0.655), (-2.49,3.14,-1.95,3.58)])
R(dff_nclk, Metal2, [(-1.61,0.8,-1.11,1.09), (-3.605,1.09,-3.315,1.59), (7.84,1.71,8.43,2), (9.765,2.375,10.265,2.665)])
P(dff_nclk, Metal2, [(-2.605,0.27),(-2.605,0.56),(0.165,0.56),(0.165,1.37),(0.465,1.37),(0.465,0.27)])
R(dff_nclk, Metal2_pin, [(-1.61,0.8,-1.11,1.09), (-3.605,1.09,-3.315,1.59), (1.215,1.58,1.715,1.78), (7.84,1.71,8.43,2), (9.765,2.375,10.265,2.665)])
R(dff_nclk, pSD, [(-2.42,-0.6,-2.02,-0.24), (-2.42,1.34,-2.02,3.18)])
R(dff_nclk, Via1, [(-2.555,0.32,-2.365,0.51), (-1.455,0.85,-1.265,1.04), (0.225,1.17,0.415,1.36), (-3.555,1.245,-3.365,1.435), (8.04,1.76,8.23,1.95), (9.92,2.425,10.11,2.615)])
dff_nclk.add(gdstk.Reference(sg13g2_inv_1, (-3.93,-0.42)))
dff_nclk.add(gdstk.Reference(sg13g2_dfrbp_1, (-1.95,-0.42)))
dff_nclk.add(gdstk.Label('nRST', (1.465,1.68), layer=10, texttype=25))
dff_nclk.add(gdstk.Label('nCLK', (-3.46,1.34), layer=10, texttype=25))
dff_nclk.add(gdstk.Label('D', (-1.363,0.945), layer=10, texttype=25))
dff_nclk.add(gdstk.Label('nQ', (8.135,1.855), layer=10, texttype=25))
dff_nclk.add(gdstk.Label('Q', (10.015,2.52), layer=10, texttype=25))

freq_div_cell = lib.new_cell('freq_div_cell')
R(freq_div_cell, Activ, [(0.54,-1.94,7.26,-1.46), (11.16,-1.94,15,-1.46), (7.26,2.32,11.16,2.62)])
R(freq_div_cell, Metal1, [(0.54,-1.87,15,-1.53), (7.26,2.25,11.16,2.69)])
P(freq_div_cell, Metal1, [(15,-6.09),(15,-5.65),(15.3,-5.65),(15.3,2.25),(15,2.25),(15,2.69),(15.7,2.69),(15.7,-6.09)])
R(freq_div_cell, Metal1_pin, [(0.54,-6.09,15,-5.65), (0.54,-1.87,15,-1.53), (0.54,2.25,15,2.69)])
R(freq_div_cell, Metal2, [(-0.1,-4.36,0.865,-3.86), (-0.1,-0.905,0.54,-0.35), (14.545,-0.44,15.7,0.06), (-0.1,1.51,0.54,2.065)])
P(freq_div_cell, Metal2, [(-0.1,-5.92),(-0.1,-5.42),(0.865,-5.42),(0.865,-5.525),(6.22,-5.525),(6.22,-3.87),(6.51,-3.87),(6.51,-5.815),(0.865,-5.815),(0.865,-5.92)],
  [(1.85,-4.65),(1.85,-1.56),(6.48,-1.56),(6.48,-0.905),(7.26,-0.905),(7.26,-1.96),(2.27,-1.96),(2.27,-4.36),(2.86,-4.36),(2.86,-4.65)],
  [(14.235,-2.785),(14.235,-2),(8.91,-2),(8.91,1.64),(7.26,1.64),(7.26,2.065),(9.31,2.065),(9.31,-1.6),(11.39,-1.6),(11.39,0.96),(11.89,0.96),(11.89,-1.6),(14.735,-1.6),(14.735,-2.785)],
  [(13.115,0.595),(13.115,2.065),(15.7,2.065),(15.7,1.565),(13.615,1.565),(13.615,0.595)])
R(freq_div_cell, Metal2_pin, [(-0.1,-5.92,0.54,-5.42), (-0.1,-4.36,0.54,-3.86), (-0.1,-0.905,0.54,-0.35), (15.06,-0.44,15.7,0.06), (-0.1,1.51,0.54,2.065), (15.06,1.565,15.7,2.065)])
R(freq_div_cell, pSD, [(7.33,2.29,11.09,2.65)])
R(freq_div_cell, Via1, [(14.645,-0.285,14.835,-0.095), (13.27,0.675,13.46,0.865), (11.545,0.695,11.735,0.885)])
freq_div_cell.add(gdstk.Reference(half_add, (4.18,1.6), x_reflection=True))
freq_div_cell.add(gdstk.Reference(sg13g2_xor2_1, (11.16,2.47), x_reflection=True))
freq_div_cell.add(gdstk.Reference(dff_nclk, (4.47,-5.45)))
freq_div_cell.add(gdstk.Label('VSS', (7.77,2.47), layer=8, texttype=25))
freq_div_cell.add(gdstk.Label('VDD', (7.77,-1.7), layer=8, texttype=25))
freq_div_cell.add(gdstk.Label('VSS', (7.77,-5.87), layer=8, texttype=25))
freq_div_cell.add(gdstk.Label('Cin', (0.22,1.788), layer=10, texttype=25))
freq_div_cell.add(gdstk.Label('Cout', (0.22,-0.628), layer=10, texttype=25))
freq_div_cell.add(gdstk.Label('CLK', (0.22,-4.11), layer=10, texttype=25))
freq_div_cell.add(gdstk.Label('nRST', (0.22,-5.67), layer=10, texttype=25))
freq_div_cell.add(gdstk.Label('BIT', (15.38,1.815), layer=10, texttype=25))
freq_div_cell.add(gdstk.Label('DIV', (15.38,-0.19), layer=10, texttype=25))

lib.write_gds('freq_div_cell.gds')
